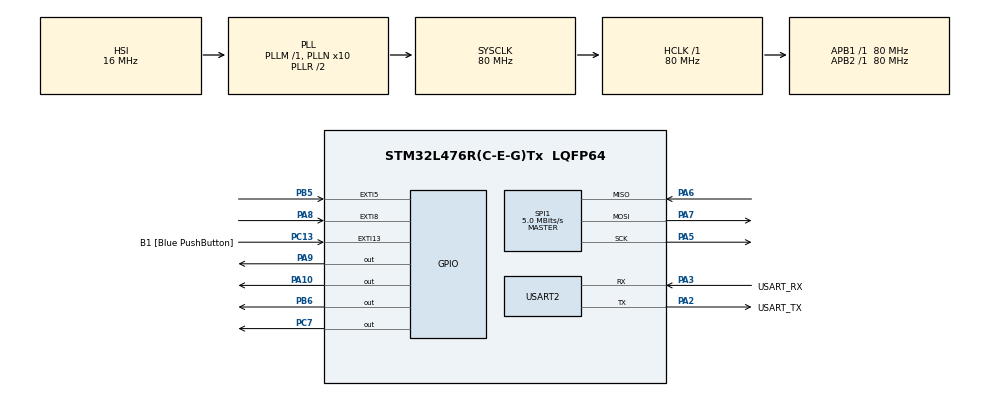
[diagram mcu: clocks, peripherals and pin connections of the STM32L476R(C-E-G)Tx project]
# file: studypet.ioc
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Mcu.Family=STM32L4
Mcu.Name=STM32L476R(C-E-G)Tx
Mcu.Package=LQFP64
NVIC.EXTI9_5_IRQn=true\:0\:0\:false\:false\:true\:true\:true\:true
NVIC.PriorityGroup=NVIC_PRIORITYGROUP_4
NVIC.USART2_IRQn=true\:0\:0\:false\:false\:true\:true\:true\:true
PA10.Signal=GPIO_Output
PA13\ (JTMS-SWDIO).GPIO_Label=TMS
PA13\ (JTMS-SWDIO).Mode=Serial_Wire
PA13\ (JTMS-SWDIO).Signal=SYS_JTMS-SWDIO
PA14\ (JTCK-SWCLK).GPIO_Label=TCK
PA14\ (JTCK-SWCLK).Mode=Serial_Wire
PA14\ (JTCK-SWCLK).Signal=SYS_JTCK-SWCLK
PA2.GPIO_Label=USART_TX
PA2.GPIO_Mode=GPIO_MODE_AF_PP
PA2.GPIO_PuPd=GPIO_NOPULL
PA2.GPIO_Speed=GPIO_SPEED_FREQ_VERY_HIGH
PA2.Mode=Asynchronous
PA2.Signal=USART2_TX
PA3.GPIO_Label=USART_RX
PA3.GPIO_Mode=GPIO_MODE_AF_PP
PA3.GPIO_PuPd=GPIO_NOPULL
PA3.GPIO_Speed=GPIO_SPEED_FREQ_VERY_HIGH
PA3.Mode=Asynchronous
PA3.Signal=USART2_RX
PA5.Mode=Full_Duplex_Master
PA5.Signal=SPI1_SCK
PA6.Mode=Full_Duplex_Master
PA6.Signal=SPI1_MISO
PA7.Mode=Full_Duplex_Master
PA7.Signal=SPI1_MOSI
PA8.GPIO_ModeDefaultEXTI=GPIO_MODE_IT_FALLING
PA8.Signal=GPXTI8
PA9.Signal=GPIO_Output
PB5.GPIO_ModeDefaultEXTI=GPIO_MODE_IT_FALLING
PB5.Signal=GPXTI5
PB6.Signal=GPIO_Output
PC13.GPIO_Label=B1 [Blue PushButton]
PC13.GPIO_ModeDefaultEXTI=GPIO_MODE_IT_FALLING
PC13.GPIO_PuPd=GPIO_NOPULL
PC13.Signal=GPXTI13
PC14-OSC32_IN\ (PC14).Signal=RCC_OSC32_IN
PC15-OSC32_OUT\ (PC15).Signal=RCC_OSC32_OUT
PC7.Signal=GPIO_Output
PH0-OSC_IN\ (PH0).Signal=RCC_OSC_IN
PH1-OSC_OUT\ (PH1).Signal=RCC_OSC_OUT
ProjectManager.HeapSize=0x200
ProjectManager.StackSize=0x400
ProjectManager.TargetToolchain=STM32CubeIDE
RCC.ADCFreq_Value=64000000
RCC.AHBFreq_Value=80000000
RCC.APB1Freq_Value=80000000
RCC.APB1TimFreq_Value=80000000
RCC.APB2Freq_Value=80000000
RCC.APB2TimFreq_Value=80000000
RCC.CortexFreq_Value=80000000
RCC.HCLKFreq_Value=80000000
RCC.HSE_VALUE=8000000
RCC.HSI_VALUE=16000000
RCC.LSE_VALUE=32768
RCC.MSI_VALUE=4000000
RCC.PLLN=10
RCC.PLLSourceVirtual=RCC_PLLSOURCE_HSI
RCC.PREFETCH_ENABLE=1
RCC.SYSCLKFreq_VALUE=80000000
RCC.SYSCLKSource=RCC_SYSCLKSOURCE_PLLCLK
RCC.USBFreq_Value=64000000
RCC.VCOOutputFreq_Value=160000000
SPI1.BaudRatePrescaler=SPI_BAUDRATEPRESCALER_16
SPI1.CalculateBaudRate=5.0 MBits/s
SPI1.DataSize=SPI_DATASIZE_8BIT
SPI1.Direction=SPI_DIRECTION_2LINES
SPI1.Mode=SPI_MODE_MASTER
SPI1.VirtualType=VM_MASTER
USART2.VirtualMode-Asynchronous=VM_ASYNC
board=NUCLEO-L476RG

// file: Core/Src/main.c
/* USER CODE BEGIN Header */
/**
  ******************************************************************************
  * @file           : main.c
  * @brief          : Main program body
  ******************************************************************************
  * @attention
  *
  * Copyright (c) 2025 STMicroelectronics.
  * All rights reserved.
  *
  * This software is licensed under terms that can be found in the LICENSE file
  * in the root directory of this software component.
  * If no LICENSE file comes with this software, it is provided AS-IS.
  *
  ******************************************************************************
  */
/* USER CODE END Header */
#include "main.h"

/* USER CODE BEGIN Includes */
#include "ST7735.h"
#include "fonts.h"
#include "sprites.h"
/* USER CODE END Includes */

SPI_HandleTypeDef hspi1;

UART_HandleTypeDef huart2;

/* USER CODE BEGIN PV */
extern const uint8_t happy_frame0[];

static uint8_t rx_byte;
static char line_buf[128];
static volatile uint16_t line_len = 0;
static volatile uint8_t line_ready = 0;

typedef enum State{
	FOCUSED,
	DISTRACTED,
	IDLE,
	END,
	MENU
} State_t;

static State_t state = MENU;

typedef enum {
	HAPPY,
	NEUTRAL,
	SAD,
	DEAD,
} petMood_t;

static petMood_t mood = HAPPY;

typedef enum {
	DEFAULT,
	TRIGGERED,
	ANIMIDLE
} petAnim_t;

static petAnim_t anim = DEFAULT;

static uint32_t last_ms = 0;
static uint32_t focused_ms = 0;
static uint32_t distracted_ms = 0;

static uint32_t distracted_episodes = 0;
static uint8_t in_distracted = 0;

static volatile uint8_t end_session_flag = 0;
static volatile uint8_t idle_flag = 0;
uint8_t endTrack = 0;

static uint32_t idleFlag = 0;
static uint32_t focusedFlag = 0;
static uint32_t menuFlag = 0;
static uint32_t endFlag = 0;

static float pet_health = 100;

static uint8_t ui_dirty = 1;
static State_t last_state = MENU;

/* USER CODE END PV */

void SystemClock_Config(void);
static void MX_GPIO_Init(void);
static void MX_USART2_UART_Init(void);
static void MX_SPI1_Init(void);

/* USER CODE BEGIN 0 */
void time_count(uint32_t now){
	//ms
	uint32_t diff = now - last_ms;

	if (state == FOCUSED){
		focused_ms += diff;
	}
	else if (state == DISTRACTED){
		distracted_ms += diff;
	}

	last_ms = now;
}
void setMood(){
	if (pet_health >= 70){
		mood = HAPPY;
	}
	else if (pet_health < 70 && pet_health >= 30){
		mood = NEUTRAL;
	}
	else if (pet_health < 30 && pet_health > 0){
		mood = SAD;
	}
	else{
		mood = DEAD;
	}
}

int stateChange = 0;
int print = 0;
void setAnim(void)
{
    if (state == MENU || state == END) {
        ST7735_DrawFrame(18,10,100,26,text0);
        HAL_Delay(200);
        ST7735_DrawFrame(18,10,100,26,text1);
        HAL_Delay(200);
        ST7735_DrawFrame(18,10,100,26,text2);
        HAL_Delay(200);
        ST7735_DrawFrame(18,10,100,26,text1);
        HAL_Delay(200);
        return;
    }

    if (anim == ANIMIDLE) {
        ST7735_DrawFrame(35, 0, 64, 64, idle0);
        HAL_Delay(300);
        ST7735_DrawFrame(35, 0, 64, 64, idle1);
        HAL_Delay(300);
        return;
    }

    if (anim == TRIGGERED && mood != DEAD) {
        ST7735_DrawFrame(35, 0, 64, 64, trig0);
        HAL_Delay(500);
        ST7735_DrawFrame(35, 0, 64, 64, trig1);
        HAL_Delay(200);
        ST7735_DrawFrame(35, 0, 64, 64, trig0);
        HAL_Delay(500);
        ST7735_DrawFrame(35, 0, 64, 64, trig1);
        HAL_Delay(200);
        anim = DEFAULT;
        return;
    }

    // DEFAULT
    if (mood == HAPPY) {
        ST7735_DrawFrame(35, 0, 64, 64, happy0);
        HAL_Delay(1000);
        ST7735_DrawFrame(35, 0, 64, 64, happy1);
        HAL_Delay(500);
    } else if (mood == NEUTRAL) {
        ST7735_DrawFrame(35, 0, 64, 64, neutral0);
        HAL_Delay(1000);
        ST7735_DrawFrame(35, 0, 64, 64, neutral1);
        HAL_Delay(500);
    } else if (mood == SAD) {
        ST7735_DrawFrame(35, 0, 64, 64, sad0);
        HAL_Delay(200);
        ST7735_DrawFrame(35, 0, 64, 64, sad1);
        HAL_Delay(200);
    } else { // DEAD
        ST7735_DrawFrame(35, 0, 64, 64, dead0);
        HAL_Delay(500);
        ST7735_DrawFrame(35, 0, 64, 64, dead1);
        HAL_Delay(500);
    }
}

void printStats(void)
{
    if (state == MENU) {
        if (!ui_dirty) return;
        ST7735_FillScreen(BLACK);

        ST7735_SetCursor(23, 65);
        ST7735_WriteString("Click Button", Font_7x10, WHITE);
        ST7735_SetCursor(38, 75);
        ST7735_WriteString("to Begin!", Font_7x10, WHITE);

        ui_dirty = 0;
        return;
    }

    if (state == IDLE) {
        if (!ui_dirty) return;
        ST7735_FillScreen(BLACK);

        char line[32];
        ST7735_SetCursor(5, 65);
        ST7735_WriteString("CURRENT STATS", Font_7x10, WHITE);

        snprintf(line, sizeof(line), "FOCUSED=%lus", (unsigned long)(focused_ms/1000));
        ST7735_SetCursor(5, 75);
        ST7735_WriteString(line, Font_7x10, WHITE);

        snprintf(line, sizeof(line), "DISTRACTED=%lus", (unsigned long)(distracted_ms/1000));
        ST7735_SetCursor(5, 85);
        ST7735_WriteString(line, Font_7x10, WHITE);

        snprintf(line, sizeof(line), "EPISODES=%lu", (unsigned long)distracted_episodes);
        ST7735_SetCursor(5, 95);
        ST7735_WriteString(line, Font_7x10, WHITE);

        ST7735_SetCursor(5, 105);
        ST7735_WriteString("STUDYING PAUSED", Font_7x10, WHITE);

        ui_dirty = 0;
        return;
    }

    if (state == END) {
        if (!ui_dirty) return;
        ST7735_FillScreen(BLACK);

        char line[32];
        ST7735_SetCursor(5, 65);
        ST7735_WriteString("CURRENT STATS", Font_7x10, WHITE);

        snprintf(line, sizeof(line), "FOCUSED=%lus", (unsigned long)(focused_ms/1000));
        ST7735_SetCursor(5, 75);
        ST7735_WriteString(line, Font_7x10, WHITE);

        snprintf(line, sizeof(line), "DISTRACTED=%lus", (unsigned long)(distracted_ms/1000));
        ST7735_SetCursor(5, 85);
        ST7735_WriteString(line, Font_7x10, WHITE);

        snprintf(line, sizeof(line), "EPISODES=%lu", (unsigned long)distracted_episodes);
        ST7735_SetCursor(5, 95);
        ST7735_WriteString(line, Font_7x10, WHITE);

        ST7735_SetCursor(5, 105);
        ST7735_WriteString("SESSION END", Font_7x10, WHITE);

        ui_dirty = 0;
        return;
    }

    static int last_health_int = -1;
    int health_int = (int)pet_health;
    if (health_int != last_health_int || ui_dirty) {
        last_health_int = health_int;
        ST7735_DrawBlock(0, 64, 127, 74, BLACK);

        char s[32];
        snprintf(s, sizeof(s), "Health: %d", health_int);
        ST7735_SetCursor(5, 64);
        ST7735_WriteString(s, Font_7x10, WHITE);

        ui_dirty = 0;
    }
}

/* USER CODE END 0 */

int main(void)
{

  /* MCU Configuration--------------------------------------------------------*/

  /* Reset of all peripherals, Initializes the Flash interface and the Systick. */
  HAL_Init();

  /* Configure the system clock */
  SystemClock_Config();

  /* Initialize all configured peripherals */
  MX_GPIO_Init();
  MX_USART2_UART_Init();
  MX_SPI1_Init();
  /* USER CODE BEGIN 2 */

  HAL_UART_Receive_IT(&huart2, &rx_byte, 1);
  ST7735_Init(&hspi1);
  ST7735_SetRotation(1);
  /* USER CODE END 2 */

  /* Infinite loop */
  /* USER CODE BEGIN WHILE */
  while (1)
  {
	  //	  printf("hello world \n\r");
	  //	  HAL_Delay(1000);

	  //buzzer testing
//	  HAL_GPIO_TogglePin(GPIOA, GPIO_PIN_10);
//	  HAL_Delay(1000);

//	    ST7735_SetRotation(1);
//	    ST7735_FillScreen(BLACK);
//	    ST7735_SetCursor(5, 5);
//	    ST7735_WriteString("ST7735 OK", Font_7x10, WHITE);
//	    ST7735_SetCursor(5, 25);
//	    ST7735_WriteString("RGB Bars:", Font_7x10, WHITE);
//	    HAL_Delay(1000);

	 	  //interrupt state changes handled here
	 	  if (idleFlag){
	 		  state = IDLE;
	 		  idleFlag = 0;
	 		  printf("idle\n\r");
	 	  }
	 	  else if (focusedFlag){
	 		  state = FOCUSED;
	 		  focusedFlag = 0;
	 			line_ready = 0;
	 			line_len = 0;
	 			line_buf[0] = '\0';
	 		  printf("focused\n\r");
	 	  }
	 	  else if (menuFlag){
	 	  		  state = MENU;
	 	  		  menuFlag = 0;
	 	  		printf("menu\n\r");
	 	  	  }
	 	  else if (endFlag){
	 	  		  state = END;
	 	  		  endFlag = 0;
	 	  		printf("end\n\r");
	 	  	  }

	  	  uint32_t now = HAL_GetTick();
	  	  //init
	  	  if(last_ms == 0){
	  		  last_ms = now;
	  	  }

	  	 time_count(now);

	  	  //display summary here, can be triggered by pin8 only
	  	 static uint8_t endPrint = 0;

	  	  if(state == END && !endPrint){

	  		    char msg[128];
	  		    snprintf(msg, sizeof(msg),
	  		             "SESSION END\r\nFOCUSED=%lus\r\nDISTRACTED=%lus\r\nEPISODES=%lu\r\n",
	  		             (unsigned long)(focused_ms/1000),
	  		             (unsigned long)(distracted_ms/1000),
	  		             (unsigned long)distracted_episodes);
	  		    HAL_UART_Transmit(&huart2, (uint8_t*)msg, (uint16_t)strlen(msg), HAL_MAX_DELAY);

	 // 		    state = MENU;

	  		    HAL_UART_Transmit(&huart2, (uint8_t*)"SESSION RESET\r\n", 15, HAL_MAX_DELAY);
	  		    endPrint = 1;
	 // 		    endTrack = 1;
	  		    print = 0;
	  		    stateChange = 0;
	  	  }

	  	  if (state != END){
	  		  endPrint = 0;
	  	  }

	  	  //idle state. triggered by pin5, exit using pin5 again
	  	  static uint8_t idlePrint = 0;
	  	  if (state == IDLE){
	  		  if (!idlePrint){
	  	 		 HAL_UART_Transmit(&huart2, (uint8_t*)"STUDYING PAUSED\r\n", 17, HAL_MAX_DELAY);

	  			    char msg[128];
	  			    snprintf(msg, sizeof(msg),
	  			             "CURRENT STATS\r\nFOCUSED=%lus\r\nDISTRACTED=%lus\r\nEPISODES=%lu\r\n",
	  			             (unsigned long)(focused_ms/1000),
	  			             (unsigned long)(distracted_ms/1000),
	  			             (unsigned long)distracted_episodes);
	  			    HAL_UART_Transmit(&huart2, (uint8_t*)msg, (uint16_t)strlen(msg), HAL_MAX_DELAY);
	  			    idlePrint = 1;
	  			    anim = ANIMIDLE;
	  			    print = 0;
	  			    stateChange = 0;
	  		  }
	  	  }

	  	  if(state != IDLE){
	  		  idlePrint = 0;
	  		  anim = DEFAULT;
	  	  }

	  	  //MENU state
	  	  static uint8_t menuPrint = 0;
	  	  if (state == MENU && !menuPrint){
	 		    focused_ms = 0;
	 		    distracted_ms = 0;
	 		    distracted_episodes = 0;
	 		    in_distracted = 0;
	 		    last_ms = HAL_GetTick();
	  		     HAL_UART_Transmit(&huart2,(uint8_t*)"MENU\r\n",15,HAL_MAX_DELAY);
	 // 		     state = FOCUSED;
	  		     menuPrint = 1;
	  		     print = 0;
	  		   stateChange = 0;
	  	  }

	  	  if (state != MENU){
	  		  menuPrint = 0;
	  	  }
	  	  //change the states
	  	 if (line_ready){
	  		 HAL_UART_Transmit(&huart2, (uint8_t*)"ACK\r\n", 5, HAL_MAX_DELAY);
	  		  line_ready = 0;
	  		  //line + newline
	  		  HAL_UART_Transmit(&huart2, (uint8_t*)"RX: ", 4, HAL_MAX_DELAY);
	  		  HAL_UART_Transmit(&huart2, (uint8_t*)line_buf, (uint16_t)strlen(line_buf), HAL_MAX_DELAY);
	  		  HAL_UART_Transmit(&huart2, (uint8_t*)"\r\n", 2, HAL_MAX_DELAY);
	  	        if (!strcmp(line_buf, "FOCUSED")) {
	  	        	if(in_distracted){
	  		        	state = FOCUSED;
	  		            HAL_UART_Transmit(&huart2, (uint8_t*)"STATE=FOCUSED\r\n", 15, HAL_MAX_DELAY);
	  		            in_distracted = 0;
	  		            print = 0;
	  		          stateChange = 0;
	  	        	}
	  	        } else if (!strcmp(line_buf, "DISTRACTED")) {
	  	        	if(!in_distracted){
	  		            HAL_UART_Transmit(&huart2, (uint8_t*)"STATE=DISTRACTED\r\n", 18, HAL_MAX_DELAY);
	  		        	distracted_episodes++;
	  		        	state = DISTRACTED;
	  		            in_distracted = 1;
	  		            anim = TRIGGERED;
	  		            print = 0;
	  		          stateChange = 0;
	  	        	}
	  	        } else {
	  	            HAL_UART_Transmit(&huart2, (uint8_t*)"STATE=UNKNOWN\r\n", 15, HAL_MAX_DELAY);
	  	        }
	  	        line_len = 0;
	  	  }

	  	State_t prev = last_state;
	  	if (state != prev) {
	  	    if ((prev == MENU || prev == END) || (state == MENU || state == END)) {
	  	        ST7735_FillScreen(BLACK);
	  	      printf("STATE %d -> %d\r\n", prev, state);
	  	    }
	  	    ui_dirty = 1;
	  	    last_state = state;
	  	}
	  	// -----------------------------------------------------------------------

	  	if (state != IDLE && state != MENU && state != END) {
	  	    if (state == DISTRACTED) {
	  	        HAL_GPIO_TogglePin(GPIOA, GPIO_PIN_10);
	  	        HAL_Delay(500);

	  	        if (pet_health >= 5.0f) pet_health -= 5.0f;
	  	        else pet_health = 0.0f;
	  	    } else { // FOCUSED
	  	        HAL_GPIO_WritePin(GPIOA, GPIO_PIN_10, GPIO_PIN_RESET);

	  	        if (pet_health <= 99.5f) pet_health += 0.5f;
	  	        else pet_health = 100.0f;
	  	    }
	  	} else {
	  	    // IDLE/MENU/END no health changes, but still allow UI + anim to run
	  	    HAL_GPIO_WritePin(GPIOA, GPIO_PIN_10, GPIO_PIN_RESET);
	  	}

	  	 setMood();
	  	 printStats();
	  	 setAnim();
    /* USER CODE END WHILE */

    /* USER CODE BEGIN 3 */
 	HAL_NVIC_EnableIRQ(EXTI9_5_IRQn);
  }
  /* USER CODE END 3 */
}

void SystemClock_Config(void)
{
  RCC_OscInitTypeDef RCC_OscInitStruct = {0};
  RCC_ClkInitTypeDef RCC_ClkInitStruct = {0};

  /** Configure the main internal regulator output voltage
  */
  if (HAL_PWREx_ControlVoltageScaling(PWR_REGULATOR_VOLTAGE_SCALE1) != HAL_OK)
  {
    Error_Handler();
  }

  /** Initializes the RCC Oscillators according to the specified parameters
  * in the RCC_OscInitTypeDef structure.
  */
  RCC_OscInitStruct.OscillatorType = RCC_OSCILLATORTYPE_HSI;
  RCC_OscInitStruct.HSIState = RCC_HSI_ON;
  RCC_OscInitStruct.HSICalibrationValue = RCC_HSICALIBRATION_DEFAULT;
  RCC_OscInitStruct.PLL.PLLState = RCC_PLL_ON;
  RCC_OscInitStruct.PLL.PLLSource = RCC_PLLSOURCE_HSI;
  RCC_OscInitStruct.PLL.PLLM = 1;
  RCC_OscInitStruct.PLL.PLLN = 10;
  RCC_OscInitStruct.PLL.PLLP = RCC_PLLP_DIV7;
  RCC_OscInitStruct.PLL.PLLQ = RCC_PLLQ_DIV2;
  RCC_OscInitStruct.PLL.PLLR = RCC_PLLR_DIV2;
  if (HAL_RCC_OscConfig(&RCC_OscInitStruct) != HAL_OK)
  {
    Error_Handler();
  }

  /** Initializes the CPU, AHB and APB buses clocks
  */
  RCC_ClkInitStruct.ClockType = RCC_CLOCKTYPE_HCLK|RCC_CLOCKTYPE_SYSCLK
                              |RCC_CLOCKTYPE_PCLK1|RCC_CLOCKTYPE_PCLK2;
  RCC_ClkInitStruct.SYSCLKSource = RCC_SYSCLKSOURCE_PLLCLK;
  RCC_ClkInitStruct.AHBCLKDivider = RCC_SYSCLK_DIV1;
  RCC_ClkInitStruct.APB1CLKDivider = RCC_HCLK_DIV1;
  RCC_ClkInitStruct.APB2CLKDivider = RCC_HCLK_DIV1;

  if (HAL_RCC_ClockConfig(&RCC_ClkInitStruct, FLASH_LATENCY_4) != HAL_OK)
  {
    Error_Handler();
  }
}

static void MX_SPI1_Init(void)
{

  /* SPI1 parameter configuration*/
  hspi1.Instance = SPI1;
  hspi1.Init.Mode = SPI_MODE_MASTER;
  hspi1.Init.Direction = SPI_DIRECTION_2LINES;
  hspi1.Init.DataSize = SPI_DATASIZE_8BIT;
  hspi1.Init.CLKPolarity = SPI_POLARITY_LOW;
  hspi1.Init.CLKPhase = SPI_PHASE_1EDGE;
  hspi1.Init.NSS = SPI_NSS_SOFT;
  hspi1.Init.BaudRatePrescaler = SPI_BAUDRATEPRESCALER_16;
  hspi1.Init.FirstBit = SPI_FIRSTBIT_MSB;
  hspi1.Init.TIMode = SPI_TIMODE_DISABLE;
  hspi1.Init.CRCCalculation = SPI_CRCCALCULATION_DISABLE;
  hspi1.Init.CRCPolynomial = 7;
  hspi1.Init.CRCLength = SPI_CRC_LENGTH_DATASIZE;
  hspi1.Init.NSSPMode = SPI_NSS_PULSE_ENABLE;
  if (HAL_SPI_Init(&hspi1) != HAL_OK)
  {
    Error_Handler();
  }

}

static void MX_USART2_UART_Init(void)
{

  huart2.Instance = USART2;
  huart2.Init.BaudRate = 115200;
  huart2.Init.WordLength = UART_WORDLENGTH_8B;
  huart2.Init.StopBits = UART_STOPBITS_1;
  huart2.Init.Parity = UART_PARITY_NONE;
  huart2.Init.Mode = UART_MODE_TX_RX;
  huart2.Init.HwFlowCtl = UART_HWCONTROL_NONE;
  huart2.Init.OverSampling = UART_OVERSAMPLING_16;
  huart2.Init.OneBitSampling = UART_ONE_BIT_SAMPLE_DISABLE;
  huart2.AdvancedInit.AdvFeatureInit = UART_ADVFEATURE_NO_INIT;
  if (HAL_UART_Init(&huart2) != HAL_OK)
  {
    Error_Handler();
  }

}

static void MX_GPIO_Init(void)
{
  GPIO_InitTypeDef GPIO_InitStruct = {0};

  /* GPIO Ports Clock Enable */
  __HAL_RCC_GPIOC_CLK_ENABLE();
  __HAL_RCC_GPIOH_CLK_ENABLE();
  __HAL_RCC_GPIOA_CLK_ENABLE();
  __HAL_RCC_GPIOB_CLK_ENABLE();

  /*Configure GPIO pin Output Level */
  HAL_GPIO_WritePin(GPIOC, GPIO_PIN_7, GPIO_PIN_RESET);

  /*Configure GPIO pin Output Level */
  HAL_GPIO_WritePin(GPIOA, GPIO_PIN_9|GPIO_PIN_10, GPIO_PIN_RESET);

  /*Configure GPIO pin Output Level */
  HAL_GPIO_WritePin(GPIOB, GPIO_PIN_6, GPIO_PIN_SET);

  /*Configure GPIO pin : B1_Pin */
  GPIO_InitStruct.Pin = B1_Pin;
  GPIO_InitStruct.Mode = GPIO_MODE_IT_FALLING;
  GPIO_InitStruct.Pull = GPIO_NOPULL;
  HAL_GPIO_Init(B1_GPIO_Port, &GPIO_InitStruct);

  /*Configure GPIO pin : PC7 */
  GPIO_InitStruct.Pin = GPIO_PIN_7;
  GPIO_InitStruct.Mode = GPIO_MODE_OUTPUT_PP;
  GPIO_InitStruct.Pull = GPIO_NOPULL;
  GPIO_InitStruct.Speed = GPIO_SPEED_FREQ_LOW;
  HAL_GPIO_Init(GPIOC, &GPIO_InitStruct);

  /*Configure GPIO pin : PA8 */
  GPIO_InitStruct.Pin = GPIO_PIN_8;
  GPIO_InitStruct.Mode = GPIO_MODE_IT_FALLING;
  GPIO_InitStruct.Pull = GPIO_NOPULL;
  HAL_GPIO_Init(GPIOA, &GPIO_InitStruct);

  /*Configure GPIO pins : PA9 PA10 */
  GPIO_InitStruct.Pin = GPIO_PIN_9|GPIO_PIN_10;
  GPIO_InitStruct.Mode = GPIO_MODE_OUTPUT_PP;
  GPIO_InitStruct.Pull = GPIO_NOPULL;
  GPIO_InitStruct.Speed = GPIO_SPEED_FREQ_LOW;
  HAL_GPIO_Init(GPIOA, &GPIO_InitStruct);

  /*Configure GPIO pin : PB5 */
  GPIO_InitStruct.Pin = GPIO_PIN_5;
  GPIO_InitStruct.Mode = GPIO_MODE_IT_FALLING;
  GPIO_InitStruct.Pull = GPIO_NOPULL;
  HAL_GPIO_Init(GPIOB, &GPIO_InitStruct);

  /*Configure GPIO pin : PB6 */
  GPIO_InitStruct.Pin = GPIO_PIN_6;
  GPIO_InitStruct.Mode = GPIO_MODE_OUTPUT_PP;
  GPIO_InitStruct.Pull = GPIO_NOPULL;
  GPIO_InitStruct.Speed = GPIO_SPEED_FREQ_LOW;
  HAL_GPIO_Init(GPIOB, &GPIO_InitStruct);

  /* EXTI interrupt init*/
  HAL_NVIC_SetPriority(EXTI9_5_IRQn, 0, 0);
  HAL_NVIC_EnableIRQ(EXTI9_5_IRQn);

}

/* USER CODE BEGIN 4 */
void HAL_UART_RxCpltCallback(UART_HandleTypeDef *huart){
	if (line_ready) {
	    HAL_UART_Receive_IT(&huart2, &rx_byte, 1);
	    return;
	}

	if (huart->Instance == USART2){
		char c = (char)rx_byte;

		//handle carriage return and newline
		if (c == '\r'){
		}
		else if (c == '\n') {
			if (line_len >= sizeof(line_buf)){
				line_len = sizeof(line_buf) - 1;
			}
			line_buf[line_len] = '\0';
			line_ready = 1;
			line_len = 0;
		}
//		else{
//				line_buf[sizeof(line_buf) - 1] = '\0';
//			}

		else{
			if (line_len < (sizeof(line_buf) - 1)){
				line_buf[line_len++] = c;
			}
			else{
				//overflow handling
				line_len = 0;
			}
		}
		HAL_UART_Receive_IT(&huart2, &rx_byte, 1);
	}
}

//debounce
static uint32_t last_pb5 = 0;
static uint32_t last_pa8 = 0;

void HAL_GPIO_EXTI_Callback(uint16_t GPIO_Pin)
{
	uint32_t button_now = HAL_GetTick();
	//idle/break
    if (GPIO_Pin == GPIO_PIN_5) {
    	if(button_now - last_pb5 > 100){
        	if(state != IDLE){
        		idleFlag = 1;
        	}
        	else if(state == IDLE){
        		focusedFlag = 1;
        	}
        	last_pb5 = button_now;
        	HAL_NVIC_DisableIRQ(EXTI9_5_IRQn);
    	}
    }
    //start/stop session
    if (GPIO_Pin == GPIO_PIN_8) {
    	if(button_now - last_pa8 > 100){
			if(state == END){
				menuFlag = 1;
			}
			else if(state == MENU){
				focusedFlag = 1;
			}
			else if (state == FOCUSED){
				endFlag = 1;
			}
			last_pa8 = button_now;
			HAL_NVIC_DisableIRQ(EXTI9_5_IRQn);
    	}
    }
}

#ifdef __GNUC__
#define PUTCHAR_PROTOTYPE int __io_putchar(int ch)
#else
  #define PUTCHAR_PROTOTYPE int fputc(int ch, FILE *f)
#endif /* __GNUC__ */
PUTCHAR_PROTOTYPE
{
  HAL_UART_Transmit(&huart2, (uint8_t *)&ch, 1, 0xFFFF);
  return ch;
}

/* USER CODE END 4 */

void Error_Handler(void)
{
  __disable_irq();
  while (1)
  {
  }
}
